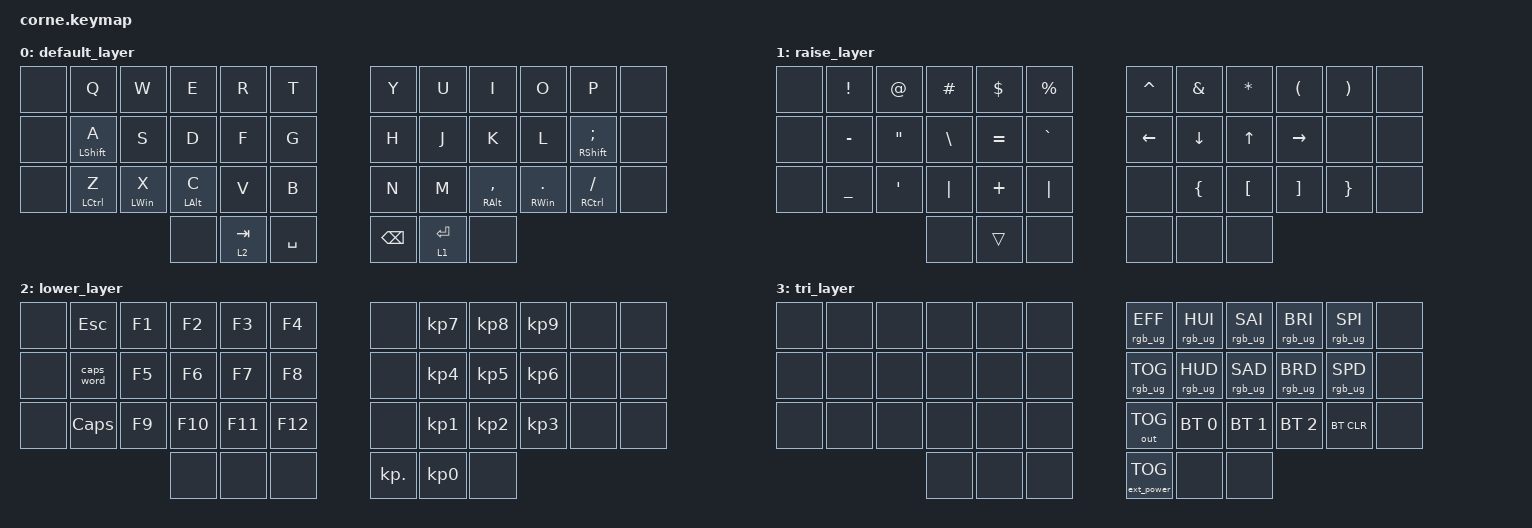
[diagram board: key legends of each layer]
/*
 * Copyright (c) 2020 The ZMK Contributors
 *
 * SPDX-License-Identifier: MIT
 */

#include <behaviors.dtsi>
#include <dt-bindings/zmk/keys.h>
#include <dt-bindings/zmk/bt.h>
#include <dt-bindings/zmk/rgb.h>
#include <dt-bindings/zmk/outputs.h>
#include <dt-bindings/zmk/ext_power.h>

&led_strip {
    chain-length = <27>;
};

&caps_word {
    continue-list = <UNDERSCORE MINUS DOT BSPC>;
};

/ {
        conditional_layers {
            compatible = "zmk,conditional-layers";
            tri_layer {
                if-layers = <1 2>;
                then-layer = <3>;
            };
        };
        behaviors {
            hm: balanced_homerow_mods {
                compatible = "zmk,behavior-hold-tap";
                #binding-cells = <2>;
                tapping-term-ms = <200>;
                quick-tap-ms = <0>;
                flavor = "balanced";
                bindings = <&kp>, <&kp>;
            };
        };

        keymap {
                compatible = "zmk,keymap";
                default_layer {
//                             ╭─────┬─────┬─────┬─────┬─────╮   ╭─────┬─────┬─────┬─────┬─────╮
//                             │  Q  │  W  │  E  │  R  │  T  │   │  Y  │  U  │  I  │  O  │  P  │
//                             ├─────┼─────┼─────┼─────┼─────┤   ├─────┼─────┼─────┼─────┼─────┤
//                             │  A  │  S  │  D  │  F  │  G  │   │  H  │  J  │  K  │  L  │  ;  │
//                             ├─────┼─────┼─────┼─────┼─────┤   ├─────┼─────┼─────┼─────┼─────┤
//                             │  Z  │  X  │  C  │  V  │  B  │   │  N  │  M  │  ,  │  .  │  /  │
//                             ╰─────┴─────┴─────┼─────┼─────┤   ├─────┼─────┼─────┴─────┴─────╯ 
//                                               │ TAB │ SPC │   │ BSP │ RET │
//                                               ╰─────┴─────╯   ╰─────┴─────╯
                        bindings = <
   &none &kp Q       &kp W      &kp E      &kp R     &kp T       &kp Y    &kp U     &kp I          &kp O        &kp P           &none
   &none &hm LSHFT A &kp S      &kp D      &kp F     &kp G       &kp H    &kp J     &kp K          &kp L        &hm RSHFT SEMI  &none
   &none &hm LCTRL Z &hm LWIN X &hm LALT C &kp V     &kp B       &kp N    &kp M     &hm RALT COMMA &hm RWIN DOT &hm RCTRL SLASH &none
                                &none      &lt 2 TAB &kp SPACE   &kp BSPC &lt 1 RET &none
                        >;
                };
                raise_layer {
//                      ╭─────┬─────┬─────┬─────┬─────╮   ╭─────┬─────┬─────┬─────┬─────╮
//                      │  !  │  @  │  #  │  $  │  %  │   │  ^  │  &  │  *  │  (  │  )  │
//                      ├─────┼─────┼─────┼─────┼─────┤   ├─────┼─────┼─────┼─────┼─────┤
//                      │  -  │  "  │  \  │  =  │  `  │   │  ⬅  │  ⬇  │  ⬆  │  ⮕  │     │
//                      ├─────┼─────┼─────┼─────┼─────┤   ├─────┼─────┼─────┼─────┼─────┤
//                      │  _  │  '  │  |  │  +  │  ~  │   │     │  {  │  [  │  ]  │  }  │
//                      ╰─────┴─────┴─────┼─────┼─────┤   ├─────┼─────┼─────┴─────┴─────╯ 
//                                        │     │     │   │     │     │
//                                        ╰─────┴─────╯   ╰─────┴─────╯
                        bindings = <
   &none &kp EXCL  &kp AT  &kp HASH &kp DLLR  &kp PRCNT   &kp CARET &kp AMPS &kp STAR &kp LPAR  &kp RPAR &none
   &none &kp MINUS &kp DQT &kp BSLH &kp EQUAL &kp GRAVE   &kp LEFT  &kp DOWN &kp UP   &kp RIGHT &none    &none
   &none &kp UNDER &kp SQT &kp PIPE &kp PLUS  &kp PIPE    &none     &kp LBRC &kp LBKT &kp RBKT  &kp RBRC &none
                           &none    &trans    &none       &none     &none    &none
                        >;
                };
                lower_layer {
//          ╭─────┬─────┬─────┬─────┬─────╮   ╭─────┬─────┬─────┬─────┬─────╮
//          │ ESC │ F1  │ F2  │ F3  │ F4  │   │     │  7  │  8  │  9  │     │
//          ├─────┼─────┼─────┼─────┼─────┤   ├─────┼─────┼─────┼─────┼─────┤
//          │ CPW │ F5  │ F6  │ F7  │ F8  │   │     │  4  │  5  │  6  │     │
//          ├─────┼─────┼─────┼─────┼─────┤   ├─────┼─────┼─────┼─────┼─────┤
//          │ CPS │ F9  │ F10 │ F11 │ F12 │   │     │  1  │  2  │  3  │     │
//          ╰─────┴─────┴─────┼─────┼─────┤   ├─────┼─────┼─────┴─────┴─────╯
//                            │     │     │   │  .  │  0  │
//                            ╰─────┴─────╯   ╰─────┴─────╯
                           bindings = <
   &none &kp ESC    &kp F1 &kp F2  &kp F3  &kp F4    &none      &kp KP_N7 &kp KP_N8  &kp KP_N9 &none &none
   &none &caps_word &kp F5 &kp F6  &kp F7  &kp F8    &none      &kp KP_N4 &kp KP_N5  &kp KP_N6 &none &none
   &none &kp CAPS   &kp F9 &kp F10 &kp F11 &kp F12   &none      &kp KP_N1 &kp KP_N2  &kp KP_N3 &none &none
                           &none   &none   &none     &kp KP_DOT &kp KP_N0 &none
                        >;
                };
                tri_layer {
//     ╭─────┬─────┬─────┬─────┬─────╮   ╭─────┬─────┬─────┬─────┬─────╮
//     │     │     │     │     │     │   │ EFF │ HUI │ SAI │ BRI │ SPI │
//     ├─────┼─────┼─────┼─────┼─────┤   ├─────┼─────┼─────┼─────┼─────┤
//     │     │     │     │     │     │   │ RGB │ HUD │ SAD │ BRD │ SPD │
//     ├─────┼─────┼─────┼─────┼─────┤   ├─────┼─────┼─────┼─────┼─────┤
//     │     │     │     │     │     │   │ OUT │ BT1 │ BT2 │ BT3 │ BT4 │
//     ╰─────┴─────┴─────┼─────┼─────┤   ├─────┼─────┼─────┴─────┴─────╯
//                       │     │     │   │ BTC │     │
//                       ╰─────┴─────╯   ╰─────┴─────╯
                           bindings = <
   &none &none &none &none &none &none   &rgb_ug RGB_EFF   &rgb_ug RGB_HUI &rgb_ug RGB_SAI &rgb_ug RGB_BRI &rgb_ug RGB_SPI &none   
   &none &none &none &none &none &none   &rgb_ug RGB_TOG   &rgb_ug RGB_HUD &rgb_ug RGB_SAD &rgb_ug RGB_BRD &rgb_ug RGB_SPD &none   
   &none &none &none &none &none &none   &out OUT_TOG      &bt BT_SEL 0    &bt BT_SEL 1    &bt BT_SEL 2    &bt BT_CLR      &none   
                     &none &none &none   &ext_power EP_TOG &none           &none
                        >;
                };
        };
};
